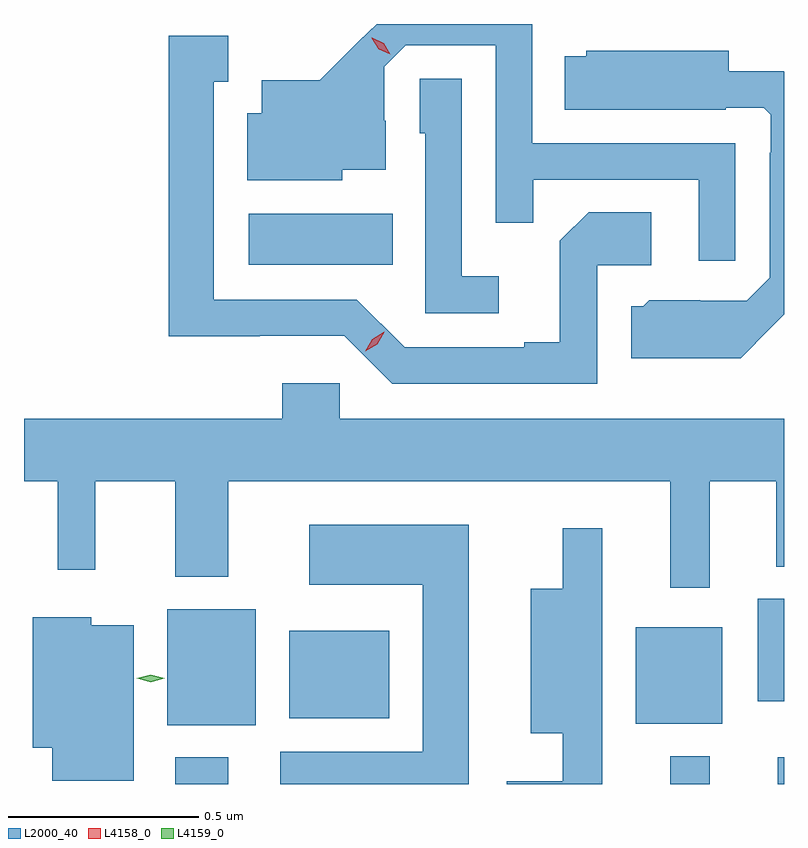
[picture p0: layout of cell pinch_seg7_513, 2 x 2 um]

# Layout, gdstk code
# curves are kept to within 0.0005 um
import gdstk
lib = gdstk.Library(unit=1e-6, precision=1e-09)
def R(c, l, rs):  # rectangles x0, y0, x1, y1
    for r in rs: c.add(gdstk.rectangle(r[:2], r[2:], *l))
def P(c, l, *ps):  # polygons
    for p in ps: c.add(gdstk.Polygon(p, *l))
L2000_40 = (2000, 40)
L4158_0 = (4158, 0)
L4159_0 = (4159, 0)

pinch_seg7_513 = lib.new_cell('pinch_seg7_513')
R(pinch_seg7_513, L2000_40, [(203.561,1071.747,203.701,1071.817), (204.863,1071.747,204.967,1071.82), (205.146,1071.747,205.163,1071.817), (203.54,1071.902,203.773,1072.207), (204.773,1071.905,205,1072.159), (203.861,1071.92,204.124,1072.15), (205.094,1071.965,205.163,1072.234), (203.754,1073.114,204.134,1073.248)])
P(pinch_seg7_513, L2000_40, [(205.035,1073.433),(204.501,1073.433),(204.501,1073.747),(204.091,1073.747),(203.941,1073.599),(203.789,1073.599),(203.789,1073.512),(203.75,1073.512),(203.75,1073.336),(204,1073.336),(204,1073.363),(204.115,1073.363),(204.115,1073.492),(204.111,1073.492),(204.111,1073.634),(204.168,1073.691),(204.405,1073.691),(204.405,1073.224),(204.503,1073.224),(204.503,1073.337),(204.939,1073.337),(204.939,1073.124),(205.035,1073.124)],
  [(204.672,1073.112),(204.814,1073.112),(204.814,1073.252),(204.649,1073.252),(204.573,1073.176),(204.573,1072.909),(204.479,1072.909),(204.479,1072.896),(204.165,1072.896),(204.039,1073.022),(203.662,1073.022),(203.662,1073.595),(203.701,1073.595),(203.701,1073.716),(203.544,1073.716),(203.544,1072.925),(203.784,1072.925),(203.784,1072.926),(204.006,1072.926),(204.132,1072.8),(204.672,1072.8)],
  [(205.129,1072.949),(205.163,1072.983),(205.163,1073.622),(205.162,1073.623),(205.018,1073.623),(205.018,1073.677),(204.642,1073.677),(204.642,1073.662),(204.586,1073.662),(204.586,1073.522),(205.01,1073.522),(205.01,1073.526),(205.11,1073.526),(205.128,1073.508),(205.128,1073.408),(205.125,1073.408),(205.125,1073.079),(205.065,1073.019),(204.942,1073.019),(204.942,1073.02),(204.808,1073.02),(204.792,1073.004),(204.761,1073.004),(204.761,1072.868),(205.049,1072.868)],
  [(204.412,1073.083),(204.315,1073.083),(204.315,1073.603),(204.204,1073.603),(204.204,1073.46),(204.219,1073.46),(204.219,1072.986),(204.412,1072.986)],
  [(204.967,1072.544),(205.142,1072.544),(205.142,1072.319),(205.163,1072.319),(205.163,1072.708),(203.994,1072.708),(203.994,1072.801),(203.843,1072.801),(203.843,1072.708),(203.163,1072.708),(203.163,1072.544),(203.252,1072.544),(203.252,1072.311),(203.351,1072.311),(203.351,1072.544),(203.561,1072.544),(203.561,1072.292),(203.701,1072.292),(203.701,1072.544),(204.863,1072.544),(204.863,1072.263),(204.967,1072.263)],
  [(204.334,1072.429),(203.913,1072.429),(203.913,1072.271),(204.212,1072.271),(204.212,1071.832),(203.837,1071.832),(203.837,1071.747),(204.334,1071.747)],
  [(204.685,1072.42),(204.581,1072.42),(204.581,1072.261),(204.497,1072.261),(204.497,1071.881),(204.581,1071.881),(204.581,1071.754),(204.434,1071.754),(204.434,1071.747),(204.685,1071.747)],
  [(203.452,1072.165),(203.34,1072.165),(203.34,1072.186),(203.186,1072.186),(203.186,1071.842),(203.237,1071.842),(203.237,1071.755),(203.452,1071.755)])
P(pinch_seg7_513, L4158_0, [(204.127,1073.667),(204.096,1073.681),(204.078,1073.71),(204.078,1073.711),(204.079,1073.711),(204.11,1073.696),(204.127,1073.667),(204.127,1073.667)],
  [(204.061,1072.886),(204.061,1072.886),(204.079,1072.918),(204.111,1072.937),(204.111,1072.937),(204.111,1072.936),(204.093,1072.904),(204.061,1072.886)])
P(pinch_seg7_513, L4159_0, [(203.496,1072.015),(203.46,1072.025),(203.459,1072.025),(203.46,1072.025),(203.496,1072.035),(203.533,1072.025),(203.533,1072.025),(203.533,1072.025)])

lib.write_gds('pinch_seg7_513.gds')
